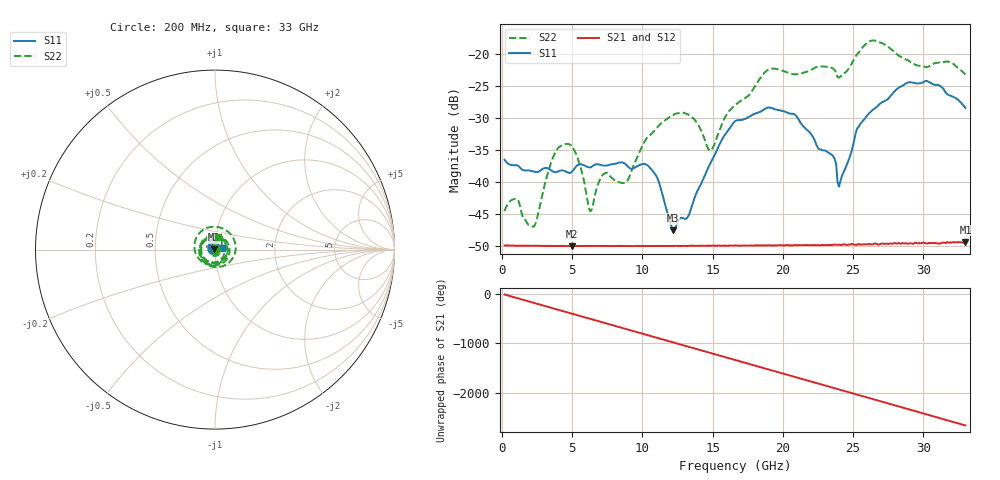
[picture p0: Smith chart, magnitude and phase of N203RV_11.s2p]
# GHZ S RI R 50
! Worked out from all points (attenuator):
!   329 points, 200 MHz to 33 GHz, reference 50 ohm
!   highest |S21| = -49.43 dB at 33 GHz (marker M1); lowest = -50.1 dB at 5 GHz (marker M2)
!   lowest |S11| = -47.6 dB at 12.2 GHz (marker M3), VSWR 1.01, Z = 49.6 + j0.177 ohm
!   |S11| at or under -10 dB: start of sweep to end of sweep
!   |S22| runs from -47.0 to -17.8 dB; largest |S21 - S12| = 7.2e-05
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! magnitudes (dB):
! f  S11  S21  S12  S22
! 200 MHz  -36.5  -50.0  -49.9  -44.6
! 1.1 GHz  -37.4  -50.0  -50.0  -42.7
! 2.3 GHz  -38.4  -50.0  -50.0  -47.0
! 3.8 GHz  -38.5  -50.1  -50.0  -35.4
! 5 GHz  -38.4  -50.1  -50.1  -34.4
! 5.7 GHz  -37.3  -50.0  -50.0  -38.4
! 6.3 GHz  -37.7  -50.1  -50.0  -44.6
! 7.2 GHz  -37.4  -50.1  -50.0  -38.9
! 8.8 GHz  -37.2  -50.1  -50.0  -40.2
! 11.2 GHz  -40.1  -50.0  -50.0  -31.1
! 12.2 GHz  -47.6  -50.0  -50.0  -29.5
! 13.7 GHz  -42.6  -50.0  -50.0  -30.2
! 14.8 GHz  -37.3  -50.0  -50.0  -35.1
! 16.6 GHz  -30.5  -50.0  -50.0  -28.0
! 19.1 GHz  -28.3  -50.0  -50.0  -22.3
! 22.1 GHz  -32.8  -49.9  -49.9  -22.3
! 23.7 GHz  -36.4  -49.9  -49.9  -22.5
! 24 GHz  -40.8  -49.8  -49.9  -23.7
! 25.3 GHz  -31.6  -49.9  -49.8  -20.0
! 27.6 GHz  -26.7  -49.7  -49.7  -19.0
! 30.2 GHz  -24.1  -49.6  -49.5  -22.0
! 33 GHz  -28.4  -49.4  -49.4  -23.1
